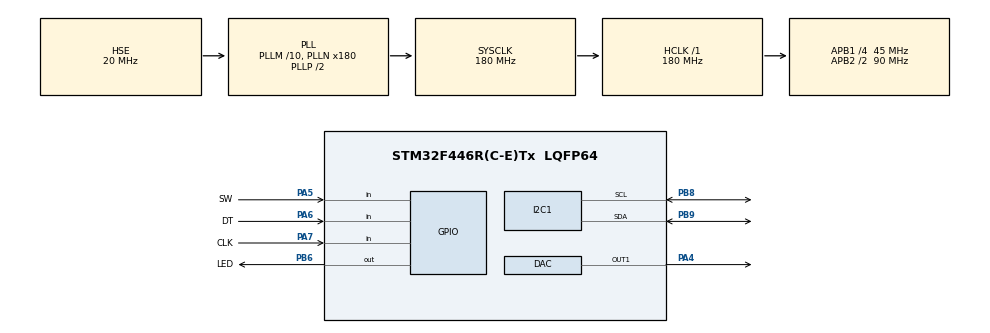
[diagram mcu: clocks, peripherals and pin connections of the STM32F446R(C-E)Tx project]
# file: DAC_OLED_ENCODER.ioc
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Dma.I2C1_TX.0.Direction=DMA_MEMORY_TO_PERIPH
Dma.I2C1_TX.0.FIFOMode=DMA_FIFOMODE_DISABLE
Dma.I2C1_TX.0.Instance=DMA1_Stream6
Dma.I2C1_TX.0.MemDataAlignment=DMA_MDATAALIGN_BYTE
Dma.I2C1_TX.0.MemInc=DMA_MINC_ENABLE
Dma.I2C1_TX.0.Mode=DMA_NORMAL
Dma.I2C1_TX.0.PeriphDataAlignment=DMA_PDATAALIGN_BYTE
Dma.I2C1_TX.0.PeriphInc=DMA_PINC_DISABLE
Dma.I2C1_TX.0.Priority=DMA_PRIORITY_LOW
Dma.Request0=I2C1_TX
I2C1.I2C_Mode=I2C_Fast
Mcu.Family=STM32F4
Mcu.Name=STM32F446R(C-E)Tx
Mcu.Package=LQFP64
NVIC.DMA1_Stream6_IRQn=true\:0\:0\:true\:false\:true\:false\:true\:true
NVIC.I2C1_EV_IRQn=true\:0\:0\:false\:false\:true\:true\:true\:true
NVIC.PriorityGroup=NVIC_PRIORITYGROUP_4
NVIC.TIM6_DAC_IRQn=true\:0\:0\:false\:false\:true\:true\:true\:true
PA13.Mode=Serial_Wire
PA13.Signal=SYS_JTMS-SWDIO
PA14.Mode=Serial_Wire
PA14.Signal=SYS_JTCK-SWCLK
PA4.Signal=COMP_DAC1_group
PA5.GPIO_Label=SW
PA5.GPIO_Mode=GPIO_MODE_INPUT
PA5.GPIO_PuPd=GPIO_PULLUP
PA5.Signal=GPIO_Input
PA6.GPIO_Label=DT
PA6.GPIO_Mode=GPIO_MODE_INPUT
PA6.GPIO_PuPd=GPIO_PULLUP
PA6.Signal=GPIO_Input
PA7.GPIO_Label=CLK
PA7.GPIO_Mode=GPIO_MODE_INPUT
PA7.GPIO_PuPd=GPIO_PULLUP
PA7.Signal=GPIO_Input
PB6.GPIO_Label=LED
PB6.Signal=GPIO_Output
PB8.Mode=I2C
PB8.Signal=I2C1_SCL
PB9.Mode=I2C
PB9.Signal=I2C1_SDA
PH0-OSC_IN.Mode=HSE-External-Oscillator
PH0-OSC_IN.Signal=RCC_OSC_IN
PH1-OSC_OUT.Mode=HSE-External-Oscillator
PH1-OSC_OUT.Signal=RCC_OSC_OUT
ProjectManager.HeapSize=0x200
ProjectManager.StackSize=0x400
ProjectManager.TargetToolchain=STM32CubeIDE
RCC.AHBFreq_Value=180000000
RCC.APB1CLKDivider=RCC_HCLK_DIV4
RCC.APB1Freq_Value=45000000
RCC.APB1TimFreq_Value=90000000
RCC.APB2CLKDivider=RCC_HCLK_DIV2
RCC.APB2Freq_Value=90000000
RCC.APB2TimFreq_Value=180000000
RCC.CortexFreq_Value=180000000
RCC.HCLKFreq_Value=180000000
RCC.HSE_VALUE=20000000
RCC.PLLM=10
RCC.PLLN=180
RCC.PLLSourceVirtual=RCC_PLLSOURCE_HSE
RCC.SYSCLKFreq_VALUE=180000000
RCC.SYSCLKSource=RCC_SYSCLKSOURCE_PLLCLK
RCC.USBFreq_Value=180000000
RCC.VCOOutputFreq_Value=360000000
SH.COMP_DAC1_group.0=DAC_OUT1,DAC_OUT1
TIM6.Period=10-1
TIM6.Prescaler=45000-1
VP_TIM6_VS_ClockSourceINT.Mode=Enable_Timer
board=custom

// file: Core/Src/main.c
/* USER CODE BEGIN Header */
/**
  ******************************************************************************
  * @file           : main.c
  * @brief          : Main program body
  ******************************************************************************
  * @attention
  *
  * Copyright (c) 2025 STMicroelectronics.
  * All rights reserved.
  *
  * This software is licensed under terms that can be found in the LICENSE file
  * in the root directory of this software component.
  * If no LICENSE file comes with this software, it is provided AS-IS.
  *
  ******************************************************************************
  */
/* USER CODE END Header */
#include "main.h"

/* USER CODE BEGIN Includes */
#include "stdio.h"
#include "Anglas_ENCODER_ROT.h"
#include "Anglas_OLED_SSD1306.h"
/* USER CODE END Includes */

DAC_HandleTypeDef hdac;

I2C_HandleTypeDef hi2c1;
DMA_HandleTypeDef hdma_i2c1_tx;

TIM_HandleTypeDef htim6;

/* USER CODE BEGIN PV */
uint16_t dacOut;
uint16_t last_dacOut=-1;

float voltage;
float last_voltage=-1;

char buff[30];

extern int16_t paso_Encoder;
int16_t last_paso_Encoder;
/* USER CODE END PV */

void SystemClock_Config(void);
static void MX_GPIO_Init(void);
static void MX_DMA_Init(void);
static void MX_I2C1_Init(void);
static void MX_TIM6_Init(void);
static void MX_DAC_Init(void);
/* USER CODE BEGIN PFP */
void control_PasosEncoder_SW(void);
/* USER CODE END PFP */

int main(void)
{

  /* MCU Configuration--------------------------------------------------------*/

  /* Reset of all peripherals, Initializes the Flash interface and the Systick. */
  HAL_Init();

  /* Configure the system clock */
  SystemClock_Config();

  /* Initialize all configured peripherals */
  MX_GPIO_Init();
  MX_DMA_Init();
  MX_I2C1_Init();
  MX_TIM6_Init();
  MX_DAC_Init();
  /* USER CODE BEGIN 2 */
  OLED_Init_DMA();
  HAL_TIM_Base_Start_IT(&htim6);
  HAL_DAC_Start(&hdac, DAC_CHANNEL_1);
  OLED_Print_Text_DMA(0,110,1,"100");

  /* USER CODE END 2 */

  /* Infinite loop */
  /* USER CODE BEGIN WHILE */

  while (1)
  {
	  OLED_UpdateIfChanged(0,10,2,"DAC : %4u",dacOut,&last_dacOut);
	  HAL_DAC_SetValue(&hdac, DAC_CHANNEL_1, DAC_ALIGN_12B_R, dacOut);

	  voltage = dacOut * 3.3/4096.0;
	  OLED_UpdateIfChanged(3,7,3,"%1.3fV",voltage,&last_voltage);

	  control_PasosEncoder_SW();

    /* USER CODE END WHILE */

  }
}

void SystemClock_Config(void)
{
  RCC_OscInitTypeDef RCC_OscInitStruct = {0};
  RCC_ClkInitTypeDef RCC_ClkInitStruct = {0};

  /** Configure the main internal regulator output voltage
  */
  __HAL_RCC_PWR_CLK_ENABLE();
  __HAL_PWR_VOLTAGESCALING_CONFIG(PWR_REGULATOR_VOLTAGE_SCALE1);

  /** Initializes the RCC Oscillators according to the specified parameters
  * in the RCC_OscInitTypeDef structure.
  */
  RCC_OscInitStruct.OscillatorType = RCC_OSCILLATORTYPE_HSE;
  RCC_OscInitStruct.HSEState = RCC_HSE_ON;
  RCC_OscInitStruct.PLL.PLLState = RCC_PLL_ON;
  RCC_OscInitStruct.PLL.PLLSource = RCC_PLLSOURCE_HSE;
  RCC_OscInitStruct.PLL.PLLM = 10;
  RCC_OscInitStruct.PLL.PLLN = 180;
  RCC_OscInitStruct.PLL.PLLP = RCC_PLLP_DIV2;
  RCC_OscInitStruct.PLL.PLLQ = 2;
  RCC_OscInitStruct.PLL.PLLR = 2;
  if (HAL_RCC_OscConfig(&RCC_OscInitStruct) != HAL_OK)
  {
    Error_Handler();
  }

  /** Activate the Over-Drive mode
  */
  if (HAL_PWREx_EnableOverDrive() != HAL_OK)
  {
    Error_Handler();
  }

  /** Initializes the CPU, AHB and APB buses clocks
  */
  RCC_ClkInitStruct.ClockType = RCC_CLOCKTYPE_HCLK|RCC_CLOCKTYPE_SYSCLK
                              |RCC_CLOCKTYPE_PCLK1|RCC_CLOCKTYPE_PCLK2;
  RCC_ClkInitStruct.SYSCLKSource = RCC_SYSCLKSOURCE_PLLCLK;
  RCC_ClkInitStruct.AHBCLKDivider = RCC_SYSCLK_DIV1;
  RCC_ClkInitStruct.APB1CLKDivider = RCC_HCLK_DIV4;
  RCC_ClkInitStruct.APB2CLKDivider = RCC_HCLK_DIV2;

  if (HAL_RCC_ClockConfig(&RCC_ClkInitStruct, FLASH_LATENCY_5) != HAL_OK)
  {
    Error_Handler();
  }
}

static void MX_DAC_Init(void)
{

  DAC_ChannelConfTypeDef sConfig = {0};

  /** DAC Initialization
  */
  hdac.Instance = DAC;
  if (HAL_DAC_Init(&hdac) != HAL_OK)
  {
    Error_Handler();
  }

  /** DAC channel OUT1 config
  */
  sConfig.DAC_Trigger = DAC_TRIGGER_NONE;
  sConfig.DAC_OutputBuffer = DAC_OUTPUTBUFFER_ENABLE;
  if (HAL_DAC_ConfigChannel(&hdac, &sConfig, DAC_CHANNEL_1) != HAL_OK)
  {
    Error_Handler();
  }

}

static void MX_I2C1_Init(void)
{

  hi2c1.Instance = I2C1;
  hi2c1.Init.ClockSpeed = 400000;
  hi2c1.Init.DutyCycle = I2C_DUTYCYCLE_2;
  hi2c1.Init.OwnAddress1 = 0;
  hi2c1.Init.AddressingMode = I2C_ADDRESSINGMODE_7BIT;
  hi2c1.Init.DualAddressMode = I2C_DUALADDRESS_DISABLE;
  hi2c1.Init.OwnAddress2 = 0;
  hi2c1.Init.GeneralCallMode = I2C_GENERALCALL_DISABLE;
  hi2c1.Init.NoStretchMode = I2C_NOSTRETCH_DISABLE;
  if (HAL_I2C_Init(&hi2c1) != HAL_OK)
  {
    Error_Handler();
  }

}

static void MX_TIM6_Init(void)
{

  TIM_MasterConfigTypeDef sMasterConfig = {0};

  htim6.Instance = TIM6;
  htim6.Init.Prescaler = 45000-1;
  htim6.Init.CounterMode = TIM_COUNTERMODE_UP;
  htim6.Init.Period = 10-1;
  htim6.Init.AutoReloadPreload = TIM_AUTORELOAD_PRELOAD_DISABLE;
  if (HAL_TIM_Base_Init(&htim6) != HAL_OK)
  {
    Error_Handler();
  }
  sMasterConfig.MasterOutputTrigger = TIM_TRGO_RESET;
  sMasterConfig.MasterSlaveMode = TIM_MASTERSLAVEMODE_DISABLE;
  if (HAL_TIMEx_MasterConfigSynchronization(&htim6, &sMasterConfig) != HAL_OK)
  {
    Error_Handler();
  }

}

static void MX_DMA_Init(void)
{

  /* DMA controller clock enable */
  __HAL_RCC_DMA1_CLK_ENABLE();

  /* DMA interrupt init */
  /* DMA1_Stream6_IRQn interrupt configuration */
  HAL_NVIC_SetPriority(DMA1_Stream6_IRQn, 0, 0);
  HAL_NVIC_EnableIRQ(DMA1_Stream6_IRQn);

}

static void MX_GPIO_Init(void)
{
  GPIO_InitTypeDef GPIO_InitStruct = {0};

  /* GPIO Ports Clock Enable */
  __HAL_RCC_GPIOH_CLK_ENABLE();
  __HAL_RCC_GPIOA_CLK_ENABLE();
  __HAL_RCC_GPIOB_CLK_ENABLE();

  /*Configure GPIO pin Output Level */
  HAL_GPIO_WritePin(LED_GPIO_Port, LED_Pin, GPIO_PIN_RESET);

  /*Configure GPIO pins : SW_Pin DT_Pin CLK_Pin */
  GPIO_InitStruct.Pin = SW_Pin|DT_Pin|CLK_Pin;
  GPIO_InitStruct.Mode = GPIO_MODE_INPUT;
  GPIO_InitStruct.Pull = GPIO_PULLUP;
  HAL_GPIO_Init(GPIOA, &GPIO_InitStruct);

  /*Configure GPIO pin : LED_Pin */
  GPIO_InitStruct.Pin = LED_Pin;
  GPIO_InitStruct.Mode = GPIO_MODE_OUTPUT_PP;
  GPIO_InitStruct.Pull = GPIO_NOPULL;
  GPIO_InitStruct.Speed = GPIO_SPEED_FREQ_LOW;
  HAL_GPIO_Init(LED_GPIO_Port, &GPIO_InitStruct);

}

/* USER CODE BEGIN 4 */
void HAL_TIM_PeriodElapsedCallback(TIM_HandleTypeDef *htim) {
	if (htim->Instance == TIM6) {//Leemos el encoder cada 5ms
		dacOut = Encoder_Run();
	}
}

void control_PasosEncoder_SW(void){
	static uint8_t mem=0,suma=0;
	//Control del pulsador del ENCODER (SW)
    if(HAL_GPIO_ReadPin(SW_GPIO_Port, SW_Pin) == 0 && mem == 0){mem = 1;}
    if(HAL_GPIO_ReadPin(SW_GPIO_Port, SW_Pin) == 1 && mem == 1){suma++; mem = 0;}
    if(suma==1){suma=2;paso_Encoder = 100;OLED_Print_Text_DMA(0,110,1,"100");}
    if(suma==3){suma=4;paso_Encoder =  10;OLED_Print_Text_DMA(0,110,1," 10");}
    if(suma==5){suma=0;paso_Encoder =   1;OLED_Print_Text_DMA(0,110,1,"  1");}

}

/* USER CODE END 4 */

void Error_Handler(void)
{
  __disable_irq();
  while (1)
  {
  }
}
